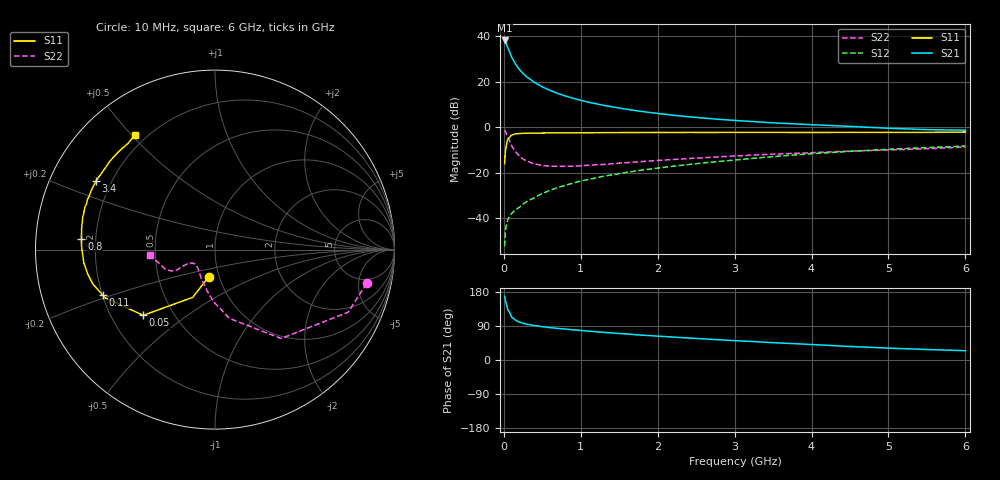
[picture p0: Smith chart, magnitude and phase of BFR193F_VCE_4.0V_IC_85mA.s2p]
! (c) 2017  Infineon Technologies AG, Munich
! Infineon Technologies  Discrete & RF Semiconductors
! BFR193F
! VCE =  4.0 V,  IC =  85 mA
! Common Emitter S-Parameters:  Jan 2017
# GHz  S  MA  R  50
!  f  S11  S21  S12  S22
! GHz  MAG  ANG  MAG  ANG  MAG  ANG  MAG  ANG
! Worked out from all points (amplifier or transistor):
!   77 points, 10 MHz to 6 GHz, reference 50 ohm
!   highest |S21| = 38.1 dB at 10 MHz (marker M1)
!   |S21| within 3 dB of that: start of sweep to 48.64 MHz
!   unconditionally stable (mu >= 1): 498.2 MHz to 2.641 GHz
!   at 130 MHz: K = 0.65, MSG = 33.1 dB, |S12| = -37.1 dB
!   at 2.2 GHz: K = 1.03, MAG = 10.2 dB, |S12| = -17.2 dB
!   at 6 GHz: K = 0.87, MSG = 3.5 dB, |S12| = -8.4 dB
!   S11 on the Smith chart (normalised r, x): 10 MHz: 0.89, -0.28; 50 MHz: 0.34, -0.35; 110 MHz: 0.20, -0.19; 800 MHz: 0.15, +0.04; 3.4 GHz: 0.14, +0.26; 6 GHz: 0.16, +0.51
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0.01  0.1561 -103.1  80.52 168.2  0.0024 83.1  0.8655 -12.6
0.02  0.2934 -115.0  76.18 156.5  0.0052 72.0  0.8196 -25.2
0.05  0.5423 -137.5  56.31 132.5  0.0092 59.0  0.6169 -53.4
0.1  0.6684 -156.3  34.84 113.5  0.0125 55.2  0.3918 -78.1
0.11  0.675 -157.9  32.73 112.3  0.013 55.6  0.3695 -80.3
0.15  0.7066 -164.2  24.49 105.2  0.015 56.9  0.2874 -92.1
0.2  0.721 -168.8  18.71 100.1  0.0171 59.3  0.2331 -101.0
0.25  0.7289 -172.2  15.08 96.9  0.0202 62.4  0.1975 -108.9
0.3  0.7348 -174.3  12.66 94.4  0.0232 65.2  0.1785 -115.0
0.4  0.7372 -177.5  9.542 90.6  0.0282 68.7  0.1544 -124.3
0.5  0.7409 -179.7  7.672 87.9  0.0346 71.0  0.1429 -131.0
0.6  0.7437 178.4  6.416 85.5  0.0405 72.5  0.1376 -136.4
0.7  0.7455 176.4  5.513 83.4  0.0467 74.2  0.1368 -139.7
0.8  0.7463 175.3  4.826 81.6  0.0524 74.6  0.1371 -143.3
1.1  0.7523 171.3  3.537 76.2  0.0708 76.3  0.1452 -148.3
1.5  0.7576 166.9  2.623 70.0  0.0947 76.6  0.161 -151.6
2.1  0.7612 161.2  1.911 61.8  0.1314 75.6  0.1893 -152.8
3.1  0.7644 152.6  1.369 50.1  0.1955 73.1  0.2356 -151.9
3.4  0.7645 150.1  1.271 46.9  0.2169 71.9  0.2491 -152.3
4.1  0.7621 143.7  1.111 39.8  0.2656 68.3  0.2777 -155.0
5.1  0.7651 133.5  0.929 30.6  0.3303 62.0  0.3175 -165.1
6  0.78 124.9  0.854 24.6  0.3822 56.2  0.3643 -175.1
